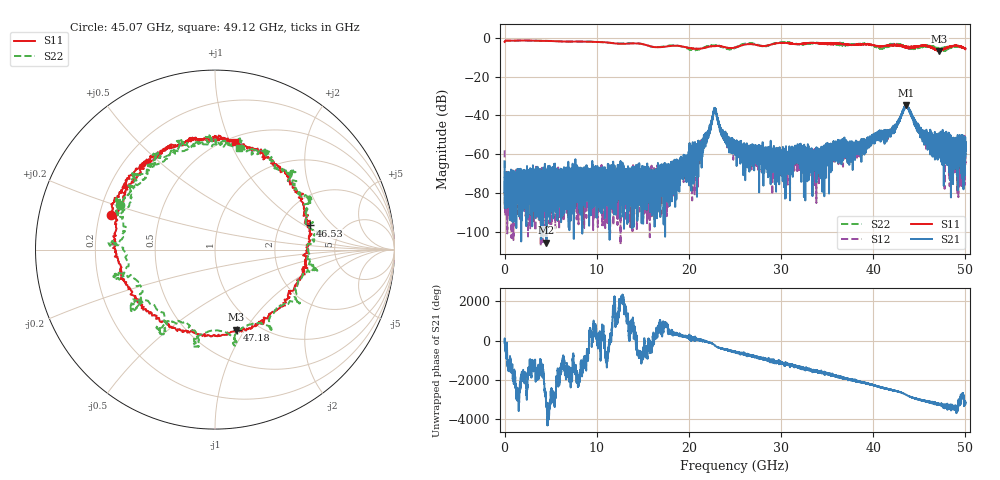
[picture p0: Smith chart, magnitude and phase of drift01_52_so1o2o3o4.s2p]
!Created with skrf (http://scikit-rf.org).
# Hz S RI R 50.0
!freq ReS11 ImS11 ReS21 ImS21 ReS12 ImS12 ReS22 ImS22
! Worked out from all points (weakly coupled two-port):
!   10001 points, 300 kHz to 50 GHz, reference 50 ohm
!   highest |S21| = -34.54 dB at 43.61 GHz (marker M1); lowest = -105.5 dB at 4.54 GHz (marker M2)
!   lowest |S11| = -6.7 dB at 47.18 GHz (marker M3), VSWR 2.71, Z = 40.4 - j45.7 ohm
!   |S11| at or under -10 dB: nowhere
!   |S22| runs from -7.2 to -1.4 dB; largest |S21 - S12| = 0.004
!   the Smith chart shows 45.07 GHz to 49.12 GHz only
!   S11 on the Smith chart (normalised r, x): 45.07 GHz: 0.25, +0.15; 46.53 GHz: 2.92, +1.12; 47.18 GHz: 0.81, -0.92; 49.12 GHz: 0.55, +1.05
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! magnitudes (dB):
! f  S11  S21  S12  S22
! 300 kHz  -2.1  -63.7  -57.9  -2.1
! 255.3 MHz  -1.4  -72.3  -83.5  -1.4
! 4.54 GHz  -1.6  -105.5  -68.5  -1.6
! 8.335 GHz  -1.9  -83.6  -76.8  -1.8
! 16.67 GHz  -4.9  -69.9  -69.6  -4.8
! 20.96 GHz  -5.6  -62.4  -59.8  -6.1
! 21.93 GHz  -4.9  -50.5  -51.6  -4.5
! 22.79 GHz  -4.3  -36.3  -36.2  -4.0
! 23.67 GHz  -4.6  -49.6  -50.0  -4.9
! 25 GHz  -5.0  -57.2  -58.1  -5.1
! 29.29 GHz  -3.0  -59.8  -60.7  -2.8
! 30.57 GHz  -2.7  -66.3  -61.5  -2.3
! 31.66 GHz  -3.3  -58.2  -62.9  -3.1
! 33.34 GHz  -2.6  -66.7  -64.7  -2.7
! 41.67 GHz  -3.9  -49.9  -49.1  -4.6
! 43.61 GHz  -4.5  -34.5  -35.2  -4.9
! 45.07 GHz  -4.3  -47.3  -47.4  -4.7
! 46.53 GHz  -5.3  -52.1  -57.2  -5.0
! 47.18 GHz  -6.7  -50.0  -54.9  -6.7
! 47.18 GHz  -6.7  -50.2  -51.3  -6.6
! 49.12 GHz  -4.3  -63.7  -56.4  -4.7
! 50 GHz  -5.7  -58.3  -62.0  -5.4
